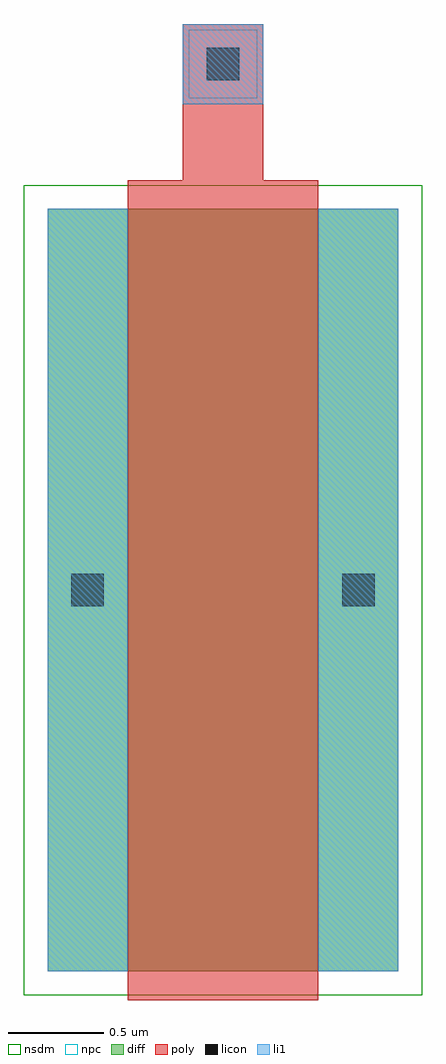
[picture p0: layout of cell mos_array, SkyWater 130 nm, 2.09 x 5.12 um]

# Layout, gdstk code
import gdstk
lib = gdstk.Library(unit=1e-6, precision=1e-09)
def R(c, l, rs):  # rectangles x0, y0, x1, y1
    for r in rs: c.add(gdstk.rectangle(r[:2], r[2:], *l))
diff = (65, 20)
poly = (66, 20)
licon = (66, 44)
li1 = (67, 20)
nsdm = (93, 44)
npc = (95, 20)

mos_array = lib.new_cell('mos_array')
R(mos_array, diff, [(0,0,1.84,4)])
R(mos_array, poly, [(0.42,-0.15,1.42,4), (0.42,4,1.42,4.15), (0.42,4,1.42,4.15), (0.71,4.15,1.13,4.97)])
R(mos_array, licon, [(0.125,1.915,0.295,2.085), (1.545,1.915,1.715,2.085), (0.835,4.675,1.005,4.845)])
R(mos_array, li1, [(0,0,0.42,4), (1.42,0,1.84,4), (0.71,4.55,1.13,4.97)])
R(mos_array, nsdm, [(-0.125,-0.125,1.965,4.125)])
R(mos_array, npc, [(0.74,4.58,1.1,4.94)])

lib.write_gds('mos_array.gds')
